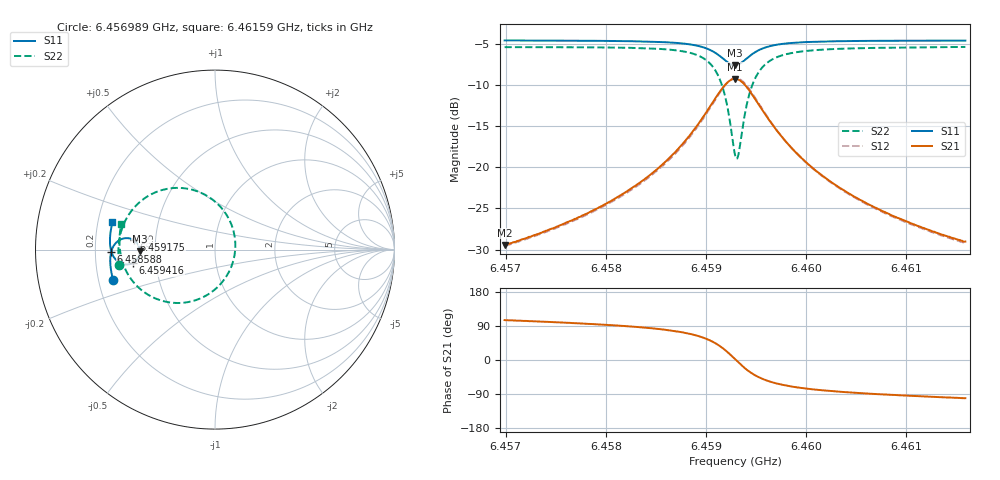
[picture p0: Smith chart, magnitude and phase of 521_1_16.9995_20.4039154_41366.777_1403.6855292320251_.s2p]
#  HZ  S  RI  R  50.00
! Rohde & Schwarz Vector Network Analyzer
! Rohde-Schwarz,ZNB20-2Port,1311601062101988,3.16
! Created: UTC 3/20/2024, 11:15:23 PM
! freq[Hz]  re:S11  im:S11  re:S21  im:S21  re:S12  im:S12  re:S22  im:S22
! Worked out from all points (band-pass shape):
!   401 points, 6.456989 GHz to 6.46159 GHz, reference 50 ohm
!   highest |S21| = -9.23 dB at 6.45929 GHz (marker M1); lowest = -29.5 dB at 6.456989 GHz (marker M2)
!   |S21| within 3 dB of the highest: 6.45906 GHz to 6.45952 GHz (460.2 kHz wide, 0.00712 % of centre)
!   lowest |S11| = -7.6 dB at 6.45929 GHz (marker M3), VSWR 2.44, Z = 20.5 - j0.469 ohm
!   |S11| at or under -10 dB: nowhere
!   |S22| runs from -18.9 to -5.3 dB; largest |S21 - S12| = 0.014
!   S11 on the Smith chart (normalised r, x): 6.456989 GHz: 0.26, -0.14; 6.458588 GHz: 0.27, -0.01; 6.459175 GHz: 0.37, +0.05; 6.459416 GHz: 0.37, -0.07; 6.46159 GHz: 0.26, +0.12
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6.4569891e9  -0.5669 -0.1714  -0.00889 0.0325  -0.00713 0.0324  -0.5328 -0.0837
6.4577597e9  -0.5808 -0.1039  -0.00553 0.0505  -0.00296 0.0497  -0.538 0.00636
6.4581968e9  -0.5836 -0.06  0.000755 0.0706  0.00398 0.0692  -0.5293 0.0761
6.4585304e9  -0.5799 -0.0201  0.0142 0.0987  0.0183 0.096  -0.5042 0.1516
6.4585879e9  -0.578 -0.0122  0.0187 0.1056  0.0228 0.1025  -0.496 0.1682
6.4587949e9  -0.565 0.0199  0.0462 0.1379  0.0504 0.1331  -0.4442 0.2408
6.4589445e9  -0.5423 0.0462  0.0915 0.1685  0.0948 0.1617  -0.3606 0.3054
6.4590825e9  -0.4986 0.0638  0.1788 0.1849  0.1797 0.1775  -0.2011 0.3437
6.4591745e9  -0.454 0.0535  0.2687 0.1536  0.2689 0.1478  -0.0344 0.2931
6.4592435e9  -0.425 0.0215  0.3291 0.0818  0.3312 0.0764  0.0811 0.1637
6.4592895e9  -0.418 -0.00943  0.3454 0.0138  0.3493 0.00676  0.1132 0.0363
6.459301e9  -0.4186 -0.0176  0.3454 -0.00402  0.3493 -0.0118  0.1129 0.00269
6.459324e9  -0.422 -0.0332  0.3397 -0.0388  0.3436 -0.0478  0.1017 -0.0634
6.45937e9  -0.4376 -0.0593  0.3112 -0.0988  0.3133 -0.1106  0.0436 -0.1766
6.4594161e9  -0.4596 -0.0755  0.2689 -0.1399  0.2681 -0.1531  -0.0418 -0.2516
6.4595081e9  -0.503 -0.0823  0.1839 -0.1707  0.1778 -0.1824  -0.2109 -0.2975
6.4596576e9  -0.5469 -0.0618  0.096 -0.1569  0.0874 -0.1631  -0.3791 -0.2476
6.4598186e9  -0.5685 -0.0341  0.0513 -0.129  0.0435 -0.1316  -0.4591 -0.175
6.4600602e9  -0.5811 0.00154  0.0221 -0.0972  0.0163 -0.0978  -0.5071 -0.0925
6.4604053e9  -0.5856 0.0425  0.00613 -0.0704  0.002 -0.0699  -0.5285 -0.0132
6.4608309e9  -0.5835 0.0853  -0.00153 -0.052  -0.00437 -0.051  -0.5325 0.055
6.46159e9  -0.5711 0.1525  -0.00657 -0.0347  -0.00832 -0.0336  -0.5211 0.1449
